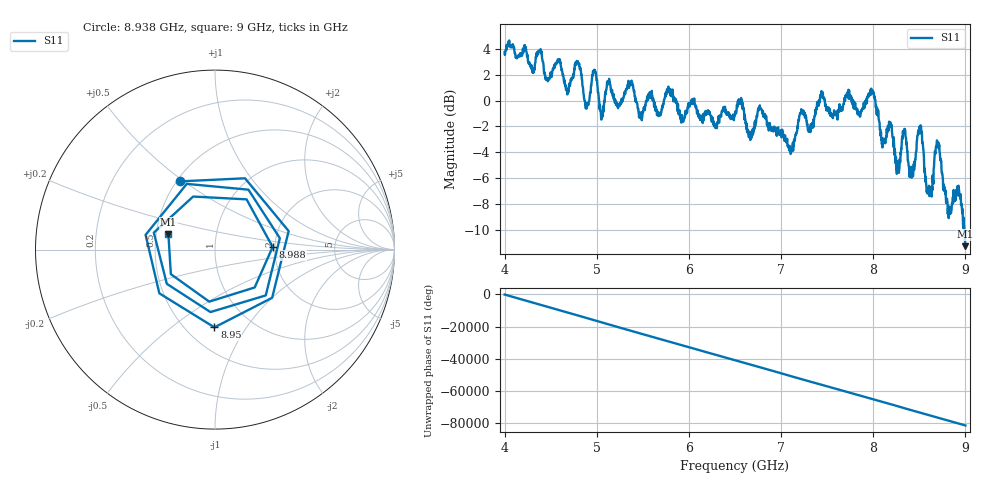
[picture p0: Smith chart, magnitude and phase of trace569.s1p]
! Created with skrf 1.8.0 (http://scikit-rf.org).
# Hz S RI R 50.0
!freq ReS11 ImS11
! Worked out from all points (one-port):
!   1601 points, 4 GHz to 9 GHz, reference 50 ohm
!   lowest |S11| = -11.3 dB at 9 GHz (marker M1), VSWR 1.75, Z = 29 + j5.39 ohm
!   |S11| at or under -10 dB: 8.988979 GHz to end of sweep
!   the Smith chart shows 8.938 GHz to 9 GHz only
!   S11 on the Smith chart (normalised r, x): 8.938 GHz: 0.52, +0.48; 8.95 GHz: 0.68, -0.73; 8.988 GHz: 1.95, +0.06; 9 GHz: 0.58, +0.11
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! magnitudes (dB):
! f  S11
! 4 GHz  3.7
! 4.625 GHz  2.3
! 5.25 GHz  -0.4
! 5.362 GHz  1.4
! 5.478 GHz  -1.3
! 5.875 GHz  -0.8
! 6.5 GHz  -1.1
! 6.566 GHz  0.2
! 6.672 GHz  -2.5
! 6.778 GHz  -0.6
! 7.125 GHz  -3.5
! 7.222 GHz  -0.8
! 7.75 GHz  0.4
! 7.991 GHz  0.7
! 8.106 GHz  -2.9
! 8.181 GHz  -1.8
! 8.266 GHz  -5.3
! 8.338 GHz  -2.2
! 8.375 GHz  -4.7
! 8.419 GHz  -5.9
! 8.503 GHz  -2.4
! 8.597 GHz  -7.2
! 8.697 GHz  -3.2
! 8.816 GHz  -8.7
! 8.938 GHz  -7.4
! 8.95 GHz  -7.3
! 8.988 GHz  -9.9
! 9 GHz  -11.3
